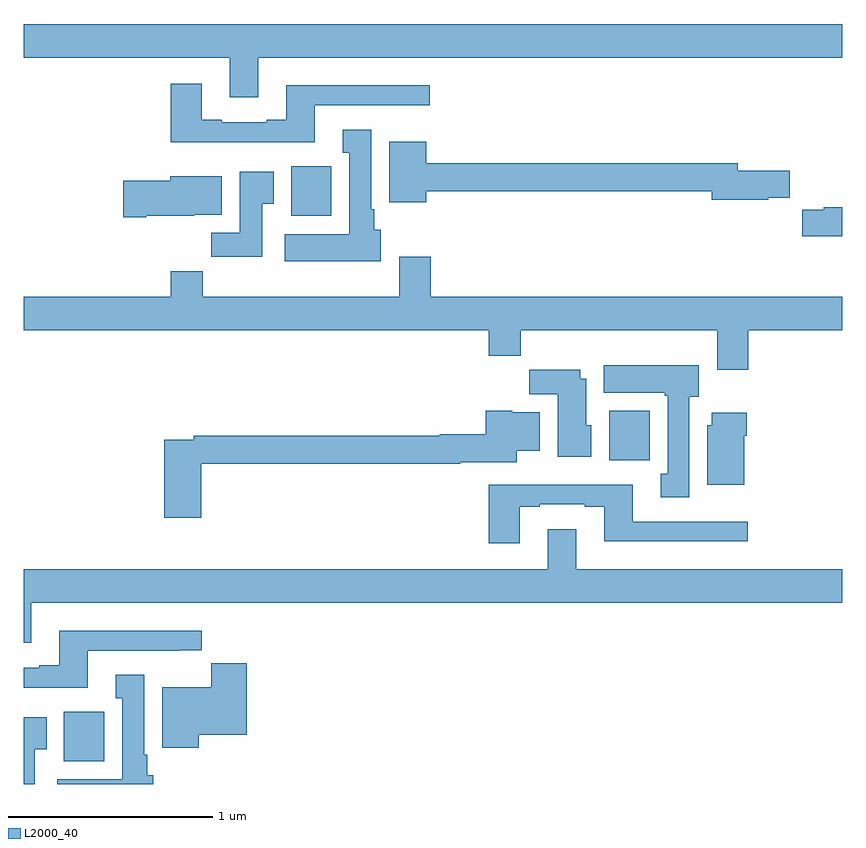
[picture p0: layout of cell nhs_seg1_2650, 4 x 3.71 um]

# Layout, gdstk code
import gdstk
lib = gdstk.Library(unit=1e-6, precision=1e-09)
def R(c, l, rs):  # rectangles x0, y0, x1, y1
    for r in rs: c.add(gdstk.rectangle(r[:2], r[2:], *l))
def P(c, l, *ps):  # polygons
    for p in ps: c.add(gdstk.Polygon(p, *l))
L2000_40 = (2000, 40)

nhs_seg1_2650 = lib.new_cell('nhs_seg1_2650')
R(nhs_seg1_2650, L2000_40, [(255.197,532.31,255.394,532.552), (257.861,533.78,258.058,534.022), (256.307,534.974,256.504,535.216)])
P(nhs_seg1_2650, L2000_40, [(256.147,535.748),(259,535.748),(259,535.912),(255,535.912),(255,535.748),(256.007,535.748),(256.007,535.554),(256.147,535.554)],
  [(256.423,535.515),(256.984,535.515),(256.984,535.612),(256.283,535.612),(256.283,535.444),(256.187,535.444),(256.187,535.431),(255.967,535.431),(255.967,535.444),(255.871,535.444),(255.871,535.621),(255.719,535.621),(255.719,535.334),(256.423,535.334)],
  [(256.744,534.906),(256.714,534.906),(256.714,535.006),(256.699,535.006),(256.699,535.396),(256.559,535.396),(256.559,535.283),(256.592,535.283),(256.592,534.886),(256.275,534.886),(256.275,534.752),(256.744,534.752)],
  [(256.966,535.096),(258.362,535.096),(258.362,535.054),(258.638,535.054),(258.638,535.062),(258.743,535.062),(258.743,535.196),(258.49,535.196),(258.49,535.232),(256.966,535.232),(256.966,535.336),(256.787,535.336),(256.787,535.04),(256.966,535.04)],
  [(256.165,535.033),(256.222,535.033),(256.222,535.189),(256.055,535.189),(256.055,534.892),(255.916,534.892),(255.916,534.774),(256.165,534.774)],
  [(255.598,534.974),(255.834,534.974),(255.834,534.98),(255.967,534.98),(255.967,535.168),(255.716,535.168),(255.716,535.145),(255.486,535.145),(255.486,534.967),(255.598,534.967)],
  [(259,535.016),(258.91,535.016),(258.91,535.004),(258.805,535.004),(258.805,534.874),(259,534.874)],
  [(256.988,534.775),(256.835,534.775),(256.835,534.58),(255.875,534.58),(255.875,534.704),(255.719,534.704),(255.719,534.58),(255,534.58),(255,534.416),(257.273,534.416),(257.273,534.292),(257.429,534.292),(257.429,534.416),(258.389,534.416),(258.389,534.222),(258.541,534.222),(258.541,534.416),(259,534.416),(259,534.58),(256.988,534.58)],
  [(258.253,534.09),(258.298,534.09),(258.298,534.244),(257.834,534.244),(257.834,534.11),(258.133,534.11),(258.133,534.097),(258.146,534.097),(258.146,533.714),(258.113,533.714),(258.113,533.601),(258.253,533.601)],
  [(257.773,533.952),(257.749,533.952),(257.749,534.178),(257.719,534.178),(257.719,534.223),(257.47,534.223),(257.47,534.104),(257.609,534.104),(257.609,533.798),(257.773,533.798)],
  [(255.869,533.764),(257.134,533.764),(257.134,533.771),(257.41,533.771),(257.41,533.828),(257.521,533.828),(257.521,534.016),(257.388,534.016),(257.388,534.022),(257.258,534.022),(257.258,533.908),(257.034,533.908),(257.034,533.9),(255.832,533.9),(255.832,533.88),(255.686,533.88),(255.686,533.499),(255.869,533.499)],
  [(258.52,533.9),(258.533,533.9),(258.533,534.013),(258.362,534.013),(258.362,533.952),(258.341,533.952),(258.341,533.66),(258.52,533.66)],
  [(257.425,533.553),(257.521,533.553),(257.521,533.565),(257.741,533.565),(257.741,533.553),(257.837,533.553),(257.837,533.384),(258.538,533.384),(258.538,533.481),(257.977,533.481),(257.977,533.662),(257.273,533.662),(257.273,533.376),(257.425,533.376)],
  [(255.037,533.084),(259,533.084),(259,533.248),(257.701,533.248),(257.701,533.443),(257.561,533.443),(257.561,533.248),(255,533.248),(255,532.89),(255.037,532.89)],
  [(255.313,532.851),(255.761,532.851),(255.761,532.853),(255.87,532.853),(255.87,532.948),(255.173,532.948),(255.173,532.78),(255.077,532.78),(255.077,532.767),(255,532.767),(255,532.67),(255.313,532.67)],
  [(255.856,532.439),(256.091,532.439),(256.091,532.788),(255.917,532.788),(255.917,532.672),(255.677,532.672),(255.677,532.376),(255.856,532.376)],
  [(255.634,532.242),(255.604,532.242),(255.604,532.342),(255.589,532.342),(255.589,532.732),(255.449,532.732),(255.449,532.619),(255.482,532.619),(255.482,532.222),(255.165,532.222),(255.165,532.199),(255.634,532.199)],
  [(255.055,532.369),(255.112,532.369),(255.112,532.525),(255,532.525),(255,532.199),(255.055,532.199)])

lib.write_gds('nhs_seg1_2650.gds')
